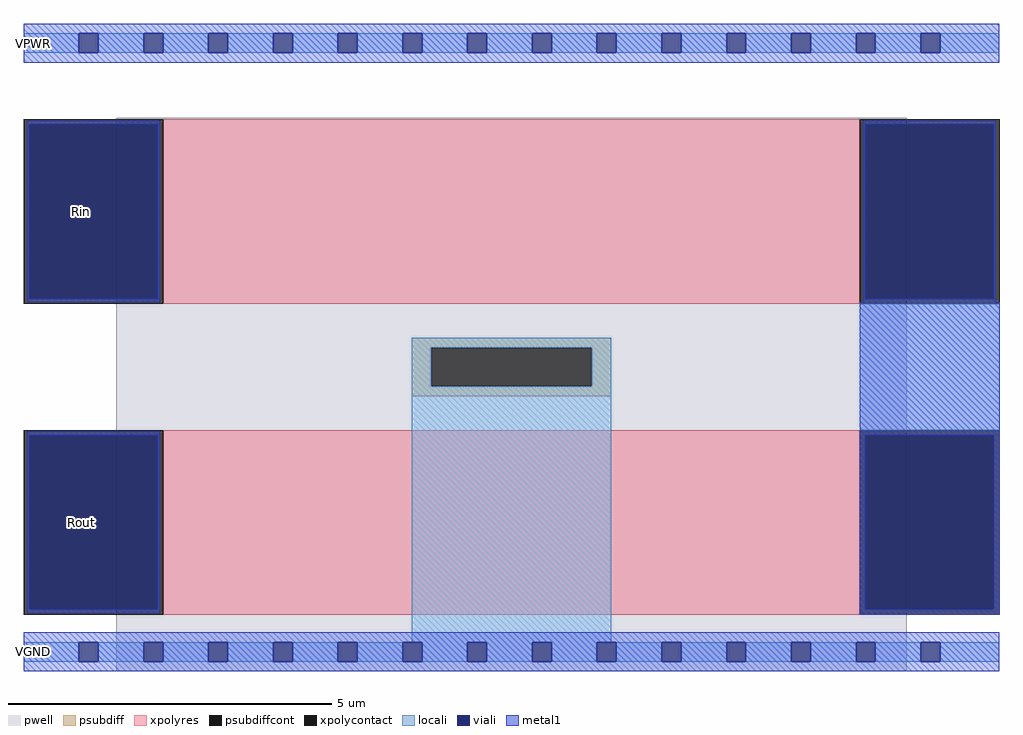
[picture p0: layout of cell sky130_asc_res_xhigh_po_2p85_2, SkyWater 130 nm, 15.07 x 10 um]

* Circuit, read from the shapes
.subckt sky130_asc_res_xhigh_po_2p85_2 Rin Rout VPWR VGND
XR1 n1 Rout VGND sky130_fd_pr__res_xhigh_po w=2.85 l=10.75
XR2 n1 Rin VGND sky130_fd_pr__res_xhigh_po w=2.85 l=10.75
.ends

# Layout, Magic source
magic
tech sky130A
magscale 1 2
<< pwell >>
rect 428 -60 2868 1650
<< psubdiff >>
rect 1340 940 1956 970
rect 1340 820 1400 940
rect 1896 820 1956 940
rect 1340 790 1956 820
<< psubdiffcont >>
rect 1400 820 1896 940
<< xpolycontact >>
rect 141 1075 573 1645
rect 2723 1075 3155 1645
rect 141 115 573 685
rect 2723 115 3155 685
<< xpolyres >>
rect 573 1075 2723 1645
rect 573 115 2723 685
<< locali >>
rect 142 1850 312 1910
rect 372 1850 512 1910
rect 572 1850 712 1910
rect 772 1850 912 1910
rect 972 1850 1112 1910
rect 1172 1850 1312 1910
rect 1372 1850 1512 1910
rect 1572 1850 1712 1910
rect 1772 1850 1912 1910
rect 1972 1850 2112 1910
rect 2172 1850 2312 1910
rect 2372 1850 2512 1910
rect 2572 1850 2712 1910
rect 2772 1850 2912 1910
rect 2972 1850 3154 1910
rect 1340 940 1956 970
rect 1340 820 1400 940
rect 1896 820 1956 940
rect 1340 30 1956 820
rect 2723 685 3155 1075
rect 142 -30 312 30
rect 372 -30 512 30
rect 572 -30 712 30
rect 772 -30 912 30
rect 972 -30 1112 30
rect 1172 -30 1312 30
rect 1372 -30 1512 30
rect 1572 -30 1712 30
rect 1772 -30 1912 30
rect 1972 -30 2112 30
rect 2172 -30 2312 30
rect 2372 -30 2512 30
rect 2572 -30 2712 30
rect 2772 -30 2912 30
rect 2972 -30 3154 30
<< viali >>
rect 312 1850 372 1910
rect 512 1850 572 1910
rect 712 1850 772 1910
rect 912 1850 972 1910
rect 1112 1850 1172 1910
rect 1312 1850 1372 1910
rect 1512 1850 1572 1910
rect 1712 1850 1772 1910
rect 1912 1850 1972 1910
rect 2112 1850 2172 1910
rect 2312 1850 2372 1910
rect 2512 1850 2572 1910
rect 2712 1850 2772 1910
rect 2912 1850 2972 1910
rect 159 1091 556 1629
rect 2740 1091 3137 1629
rect 159 131 556 669
rect 2740 131 3137 669
rect 312 -30 372 30
rect 512 -30 572 30
rect 712 -30 772 30
rect 912 -30 972 30
rect 1112 -30 1172 30
rect 1312 -30 1372 30
rect 1512 -30 1572 30
rect 1712 -30 1772 30
rect 1912 -30 1972 30
rect 2112 -30 2172 30
rect 2312 -30 2372 30
rect 2512 -30 2572 30
rect 2712 -30 2772 30
rect 2912 -30 2972 30
<< metal1 >>
rect 142 1910 3154 1940
rect 142 1850 312 1910
rect 372 1850 512 1910
rect 572 1850 712 1910
rect 772 1850 912 1910
rect 972 1850 1112 1910
rect 1172 1850 1312 1910
rect 1372 1850 1512 1910
rect 1572 1850 1712 1910
rect 1772 1850 1912 1910
rect 1972 1850 2112 1910
rect 2172 1850 2312 1910
rect 2372 1850 2512 1910
rect 2572 1850 2712 1910
rect 2772 1850 2912 1910
rect 2972 1850 3154 1910
rect 142 1820 3154 1850
rect 152 1629 562 1641
rect 152 1091 159 1629
rect 556 1091 562 1629
rect 152 1079 562 1091
rect 2734 1629 3144 1641
rect 2734 1091 2740 1629
rect 3137 1091 3144 1629
rect 2734 1079 3144 1091
rect 152 669 562 681
rect 152 131 159 669
rect 556 131 562 669
rect 152 119 562 131
rect 2723 669 3155 1079
rect 2723 131 2740 669
rect 3137 131 3155 669
rect 2723 115 3155 131
rect 142 30 3154 60
rect 142 -30 312 30
rect 372 -30 512 30
rect 572 -30 712 30
rect 772 -30 912 30
rect 972 -30 1112 30
rect 1172 -30 1312 30
rect 1372 -30 1512 30
rect 1572 -30 1712 30
rect 1772 -30 1912 30
rect 1972 -30 2112 30
rect 2172 -30 2312 30
rect 2372 -30 2512 30
rect 2572 -30 2712 30
rect 2772 -30 2912 30
rect 2972 -30 3154 30
rect 142 -60 3154 -30
<< labels >>
flabel metal1 261 1300 381 1420 1 FreeSans 480 0 0 0 Rin
port 1 n default bidirectional
flabel metal1 261 340 381 460 1 FreeSans 480 0 0 0 Rout
port 2 n default bidirectional
flabel metal1 142 1850 202 1910 1 FreeSans 800 0 0 0 VPWR
port 3 n power bidirectional
flabel metal1 142 -30 202 30 1 FreeSans 800 0 0 0 VGND
port 4 n ground bidirectional
<< properties >>
string FIXED_BBOX 0 0 3294 1880
string LEFclass CORE
string LEFsite unitasc
<< end >>
